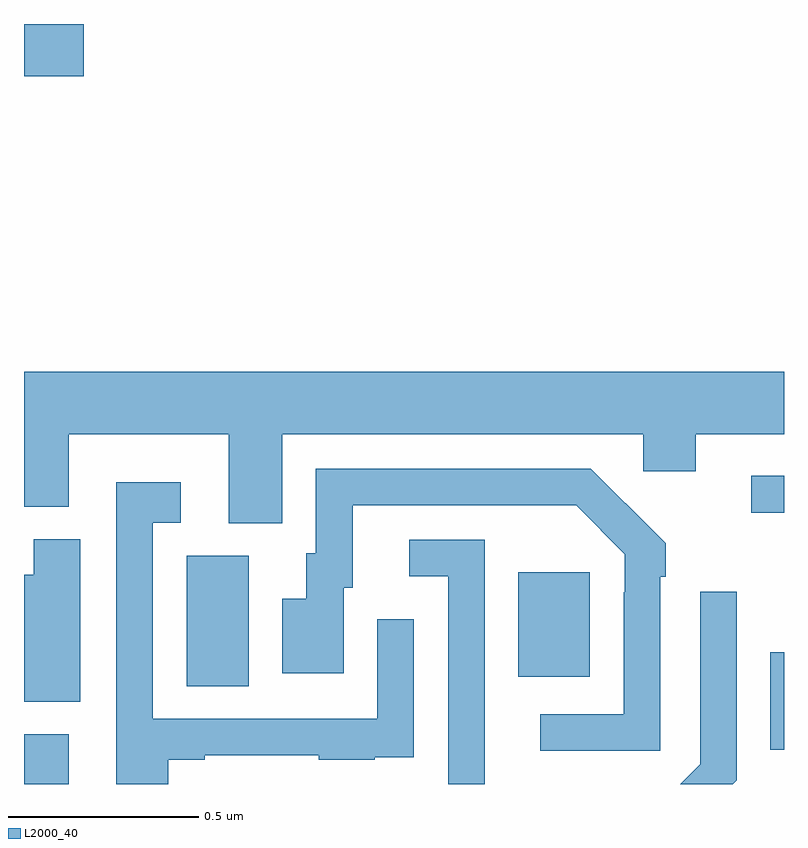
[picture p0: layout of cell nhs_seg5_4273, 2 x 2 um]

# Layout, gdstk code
import gdstk
lib = gdstk.Library(unit=1e-6, precision=1e-09)
def R(c, l, rs):  # rectangles x0, y0, x1, y1
    for r in rs: c.add(gdstk.rectangle(r[:2], r[2:], *l))
def P(c, l, *ps):  # polygons
    for p in ps: c.add(gdstk.Polygon(p, *l))
L2000_40 = (2000, 40)

nhs_seg5_4273 = lib.new_cell('nhs_seg5_4273')
R(nhs_seg5_4273, L2000_40, [(168,895.799,168.118,895.93), (169.964,895.889,170,896.146), (168.428,896.056,168.592,896.4), (169.301,896.081,169.489,896.356), (169.914,896.513,170,896.61), (168,897.662,168.157,897.799)])
P(nhs_seg5_4273, L2000_40, [(168.679,896.72),(169.629,896.72),(169.629,896.622),(169.768,896.622),(169.768,896.72),(170,896.72),(170,896.884),(168,896.884),(168,896.528),(168.118,896.528),(168.118,896.72),(168.539,896.72),(168.539,896.485),(168.679,896.485)],
  [(169.674,896.345),(169.689,896.345),(169.689,896.433),(169.584,896.538),(169.583,896.537),(169.492,896.628),(168.768,896.628),(168.768,896.406),(168.743,896.406),(168.743,896.287),(168.68,896.287),(168.68,896.091),(168.841,896.091),(168.841,896.316),(168.865,896.316),(168.865,896.532),(169.453,896.532),(169.581,896.403),(169.581,896.303),(169.578,896.303),(169.578,895.983),(169.359,895.983),(169.359,895.887),(169.674,895.887)],
  [(168.379,895.863),(168.475,895.863),(168.475,895.875),(168.775,895.875),(168.775,895.863),(168.923,895.863),(168.923,895.869),(169.025,895.869),(169.025,895.978),(169.026,895.978),(169.026,896.233),(168.93,896.233),(168.93,895.971),(168.339,895.971),(168.339,896.487),(168.412,896.487),(168.412,896.593),(168.243,896.593),(168.243,895.799),(168.379,895.799)],
  [(168.148,896.443),(168.026,896.443),(168.026,896.35),(168,896.35),(168,896.015),(168.148,896.015)],
  [(169.213,895.985),(169.212,895.985),(169.212,896.442),(169.014,896.442),(169.014,896.346),(169.116,896.346),(169.116,895.799),(169.213,895.799)],
  [(169.875,895.809),(169.875,896.305),(169.779,896.305),(169.779,895.851),(169.727,895.799),(169.865,895.799)])

lib.write_gds('nhs_seg5_4273.gds')
